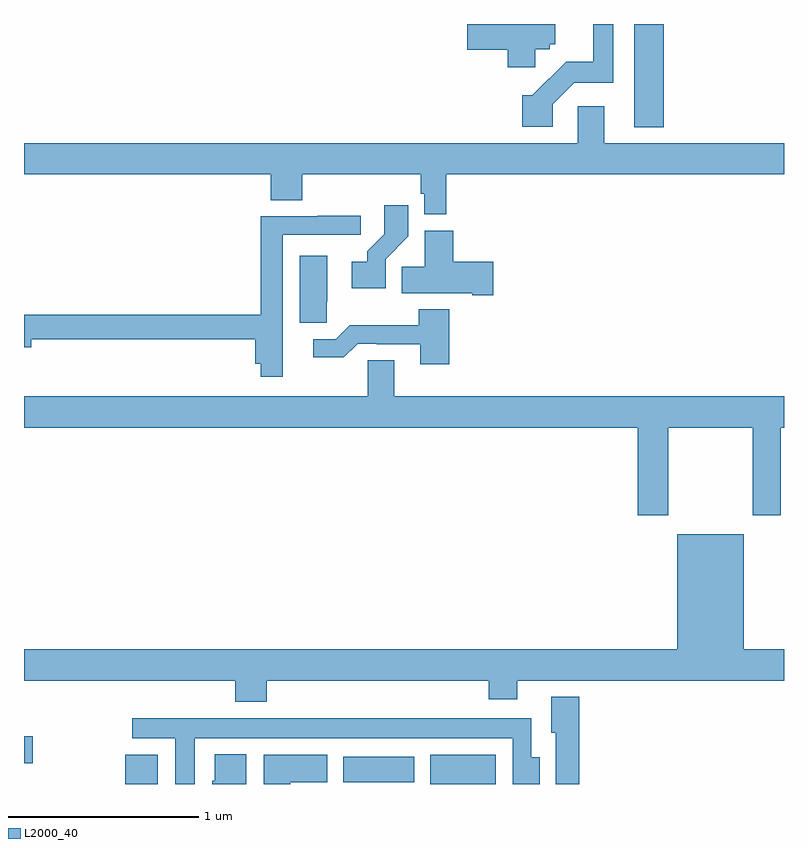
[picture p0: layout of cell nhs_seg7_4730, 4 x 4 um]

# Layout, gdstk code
import gdstk
lib = gdstk.Library(unit=1e-6, precision=1e-09)
def R(c, l, rs):  # rectangles x0, y0, x1, y1
    for r in rs: c.add(gdstk.rectangle(r[:2], r[2:], *l))
def P(c, l, *ps):  # polygons
    for p in ps: c.add(gdstk.Polygon(p, *l))
L2000_40 = (2000, 40)

nhs_seg7_4730 = lib.new_cell('nhs_seg7_4730')
R(nhs_seg7_4730, L2000_40, [(407.534,1072,407.704,1072.153), (409.139,1072,409.483,1072.153), (408.68,1072.01,409.054,1072.144), (407,1072.109,407.047,1072.251), (410.213,1075.457,410.366,1076)])
P(nhs_seg7_4730, L2000_40, [(409.692,1075.866),(409.767,1075.866),(409.767,1075.893),(409.795,1075.893),(409.795,1076),(409.332,1076),(409.332,1075.865),(409.547,1075.865),(409.547,1075.772),(409.692,1075.772)],
  [(409.782,1075.578),(409.896,1075.692),(410.101,1075.692),(410.101,1076),(409.997,1076),(409.997,1075.802),(409.853,1075.802),(409.675,1075.624),(409.622,1075.624),(409.622,1075.458),(409.782,1075.458)],
  [(409.223,1075.208),(411,1075.208),(411,1075.372),(410.053,1075.372),(410.053,1075.567),(409.914,1075.567),(409.914,1075.372),(407,1075.372),(407,1075.208),(408.299,1075.208),(408.299,1075.072),(408.464,1075.072),(408.464,1075.208),(409.087,1075.208),(409.087,1075.107),(409.107,1075.107),(409.107,1074.998),(409.223,1074.998)],
  [(408.903,1074.763),(409.022,1074.882),(409.022,1075.045),(408.897,1075.045),(408.897,1074.893),(408.806,1074.803),(408.806,1074.748),(408.726,1074.748),(408.726,1074.608),(408.903,1074.608)],
  [(408.363,1074.891),(408.772,1074.891),(408.772,1074.99),(408.547,1074.99),(408.547,1074.987),(408.247,1074.987),(408.247,1074.47),(407,1074.47),(407,1074.299),(407.038,1074.299),(407.038,1074.342),(408.218,1074.342),(408.218,1074.212),(408.247,1074.212),(408.247,1074.144),(408.363,1074.144)],
  [(409.471,1074.75),(409.259,1074.75),(409.259,1074.913),(409.109,1074.913),(409.109,1074.722),(408.988,1074.722),(408.988,1074.584),(409.358,1074.584),(409.358,1074.572),(409.471,1074.572)],
  [(408.594,1074.538),(408.595,1074.538),(408.595,1074.781),(408.452,1074.781),(408.452,1074.427),(408.594,1074.427)],
  [(409.238,1074.499),(409.078,1074.499),(409.078,1074.415),(408.715,1074.415),(408.642,1074.342),(408.522,1074.342),(408.522,1074.245),(408.683,1074.245),(408.756,1074.318),(408.856,1074.318),(408.856,1074.315),(409.085,1074.315),(409.085,1074.21),(409.238,1074.21)],
  [(410.391,1073.876),(410.836,1073.876),(410.836,1073.415),(410.983,1073.415),(410.983,1073.876),(411,1073.876),(411,1074.04),(408.949,1074.04),(408.949,1074.23),(408.81,1074.23),(408.81,1074.04),(407,1074.04),(407,1073.876),(410.231,1073.876),(410.231,1073.415),(410.391,1073.415)],
  [(408.278,1072.544),(409.445,1072.544),(409.445,1072.445),(409.597,1072.445),(409.597,1072.544),(411,1072.544),(411,1072.708),(410.788,1072.708),(410.788,1073.314),(410.438,1073.314),(410.438,1072.708),(407,1072.708),(407,1072.544),(408.113,1072.544),(408.113,1072.433),(408.278,1072.433)],
  [(409.922,1072.459),(409.775,1072.459),(409.775,1072.269),(409.799,1072.269),(409.799,1072),(409.922,1072)],
  [(407.899,1072.241),(409.572,1072.241),(409.572,1072),(409.714,1072),(409.714,1072.14),(409.669,1072.14),(409.669,1072.345),(407.571,1072.345),(407.571,1072.241),(407.795,1072.241),(407.795,1072),(407.899,1072)],
  [(408.169,1072.156),(408.005,1072.156),(408.005,1072.017),(407.99,1072.017),(407.99,1072),(408.169,1072)],
  [(408.4,1072.01),(408.595,1072.01),(408.595,1072.153),(408.263,1072.153),(408.263,1072),(408.4,1072)])

lib.write_gds('nhs_seg7_4730.gds')
